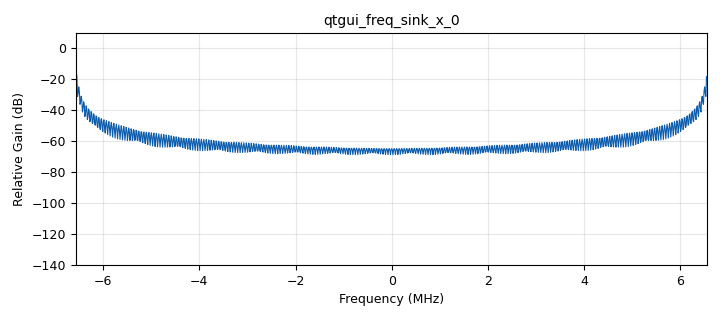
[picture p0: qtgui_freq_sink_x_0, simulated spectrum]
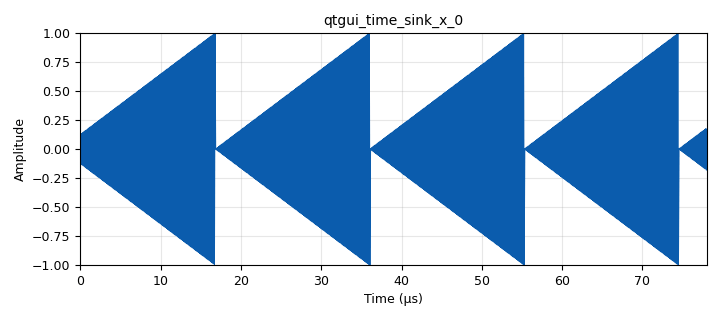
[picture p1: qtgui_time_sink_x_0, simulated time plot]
options:
  parameters:
    author: Edgar_Andres
    generate_options: qt_gui
    id: demoLab3P2
    output_language: python
    title: Informe3
  states: {}

blocks:
- name: A
  id: variable_qtgui_range
  parameters:
    label: Amplitud
    orient: Qt.Horizontal
    start: '0'
    step: '1'
    stop: '100'
    value: '1'
  states: {}
- name: samp_rate
  id: variable
  parameters:
    value: 2*6560000
  states: {}
- name: CalculoPotenciaCom1_0
  id: CalculoPotenciaCom1
  parameters:
    l_vect: '1024'
  states: {}
- name: analog_sig_source_x_0
  id: analog_sig_source_x
  parameters:
    amp: A
    freq: '52000'
    offset: '0'
    phase: '0'
    samp_rate: samp_rate
    type: float
    waveform: analog.GR_SAW_WAVE
  states: {}
- name: analog_sig_source_x_0_0
  id: analog_sig_source_x
  parameters:
    amp: A
    freq: '6560000'
    offset: '0'
    phase: '0'
    samp_rate: samp_rate
    type: float
    waveform: analog.GR_COS_WAVE
  states: {}
- name: blocks_multiply_xx_0
  id: blocks_multiply_xx
  parameters:
    type: float
  states: {}
- name: qtgui_freq_sink_x_0
  id: qtgui_freq_sink_x
  parameters:
    bw: samp_rate
    fc: '0'
    fftsize: '1024'
    type: float
    wintype: firdes.WIN_BLACKMAN_hARRIS
  states: {}
- name: qtgui_time_sink_x_0
  id: qtgui_time_sink_x
  parameters:
    name: ''
    size: '1024'
    srate: samp_rate
    type: float
    yunit: '"t"'
  states: {}

connections:
- [analog_sig_source_x_0, '0', blocks_multiply_xx_0, '0']
- [analog_sig_source_x_0_0, '0', blocks_multiply_xx_0, '1']
- [blocks_multiply_xx_0, '0', CalculoPotenciaCom1_0, '0']
- [blocks_multiply_xx_0, '0', qtgui_freq_sink_x_0, '0']
- [blocks_multiply_xx_0, '0', qtgui_time_sink_x_0, '0']

metadata:
  file_format: 1
